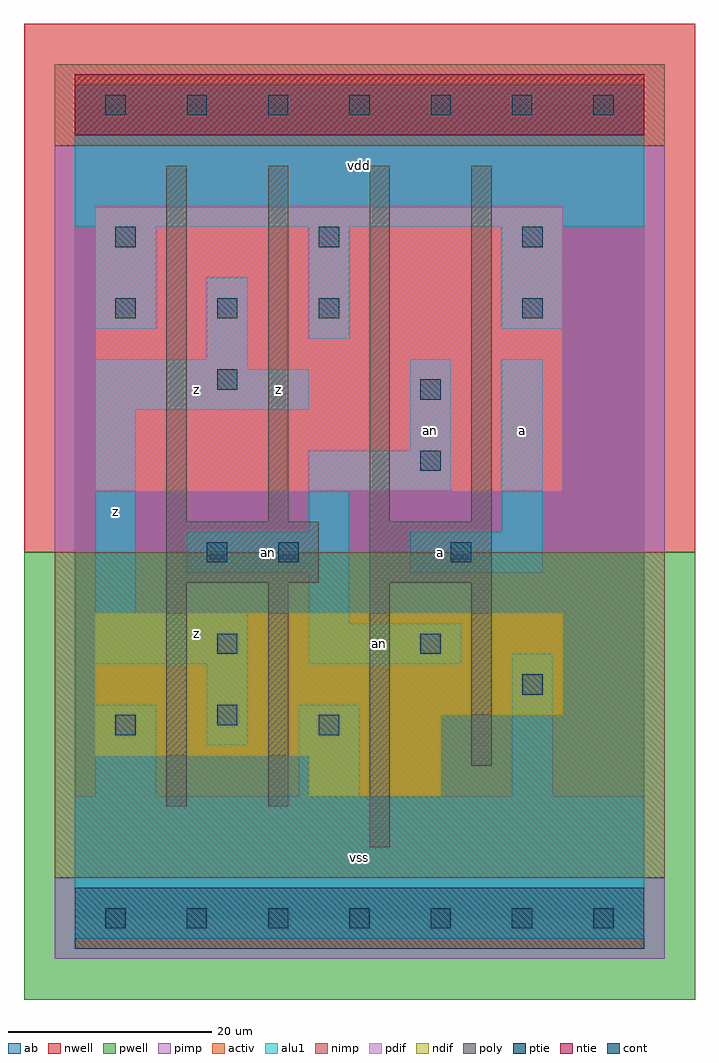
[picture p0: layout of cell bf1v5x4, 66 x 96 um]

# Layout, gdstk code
import gdstk
lib = gdstk.Library(unit=1e-6, precision=1e-09)
def R(c, l, rs):  # rectangles x0, y0, x1, y1
    for r in rs: c.add(gdstk.rectangle(r[:2], r[2:], *l))
def A(c, l, x, y, w, h, nx, ny, dx, dy):  # array of equal rectangles
    R(c, l, [(x+i*dx, y+j*dy, x+i*dx+w, y+j*dy+h) for i in range(nx) for j in range(ny)])
ndif = (3, 0)
pdif = (4, 0)
ntie = (5, 0)
ptie = (6, 0)
cont = (25, 0)
pwell = (41, 0)
nwell = (42, 0)
activ = (43, 0)
pimp = (44, 0)
nimp = (45, 0)
poly = (46, 0)
alu1 = (49, 0)
ab = (63, 0)

bf1v5x4 = lib.new_cell('bf1v5x4')
R(bf1v5x4, ndif, [(23,12,36,16), (2,16,36,20), (2,20,48,30)])
R(bf1v5x4, pdif, [(2,42,48,70)])
R(bf1v5x4, ntie, [(0,77,56,83)])
R(bf1v5x4, ptie, [(0,-3,56,3)])
A(bf1v5x4, cont, 3, -1, 2, 2, 7, 2, 8, 80)
A(bf1v5x4, cont, 4, 59, 2, 2, 3, 1, 10, 0)
A(bf1v5x4, cont, 4, 66, 2, 2, 3, 1, 20, 0)
R(bf1v5x4, cont, [(4,18,6,20), (24,18,26,20), (14,19,16,21), (44,22,46,24), (14,26,16,28), (34,26,36,28), (13,35,15,37), (20,35,22,37), (37,35,39,37), (34,44,36,46), (34,51,36,53), (14,52,16,54), (44,59,46,61)])
R(bf1v5x4, pwell, [(-5,-8,61,36)])
R(bf1v5x4, nwell, [(-5,36,61,88)])
R(bf1v5x4, activ, [(0,-3,56,3), (23,12,36,16), (2,16,36,20), (2,20,48,30), (2,42,48,70), (0,77,56,83)])
R(bf1v5x4, pimp, [(-2,-4,58,4), (-2,36,58,76)])
R(bf1v5x4, nimp, [(-2,4,58,36), (-2,76,58,84)])
A(bf1v5x4, poly, 9, 39, 2, 35, 4, 1, 10, 0)
R(bf1v5x4, poly, [(29,7,31,33), (9,11,11,33), (19,11,21,33), (39,15,41,33), (9,33,24,39), (29,33,41,39)])
R(bf1v5x4, alu1, [(0,-2,56,12), (2,12,8,21), (22,12,28,21), (43,12,47,26), (13,17,17,25), (2,25,17,30), (23,25,38,29), (23,29,27,34), (2,30,6,50), (11,34,27,38), (33,34,46,38), (23,38,27,42), (42,38,46,55), (23,42,37,46), (33,46,37,55), (2,50,23,54), (2,54,17,55), (13,55,17,63), (23,57,27,68), (2,58,8,68), (42,58,48,68), (0,68,56,82)])
R(bf1v5x4, ab, [(0,0,56,80)])
bf1v5x4.add(gdstk.Label('an', (19,36), layer=49, texttype=0))
bf1v5x4.add(gdstk.Label('an', (30,27), layer=49, texttype=0))
bf1v5x4.add(gdstk.Label('an', (35,48), layer=49, texttype=0))
bf1v5x4.add(gdstk.Label('z', (4,40), layer=49, texttype=0))
bf1v5x4.add(gdstk.Label('z', (12,28), layer=49, texttype=0))
bf1v5x4.add(gdstk.Label('z', (12,52), layer=49, texttype=0))
bf1v5x4.add(gdstk.Label('z', (20,52), layer=49, texttype=0))
bf1v5x4.add(gdstk.Label('vss', (28,6), layer=49, texttype=0))
bf1v5x4.add(gdstk.Label('a', (36,36), layer=49, texttype=0))
bf1v5x4.add(gdstk.Label('vdd', (28,74), layer=49, texttype=0))
bf1v5x4.add(gdstk.Label('a', (44,48), layer=49, texttype=0))

lib.write_gds('bf1v5x4.gds')
